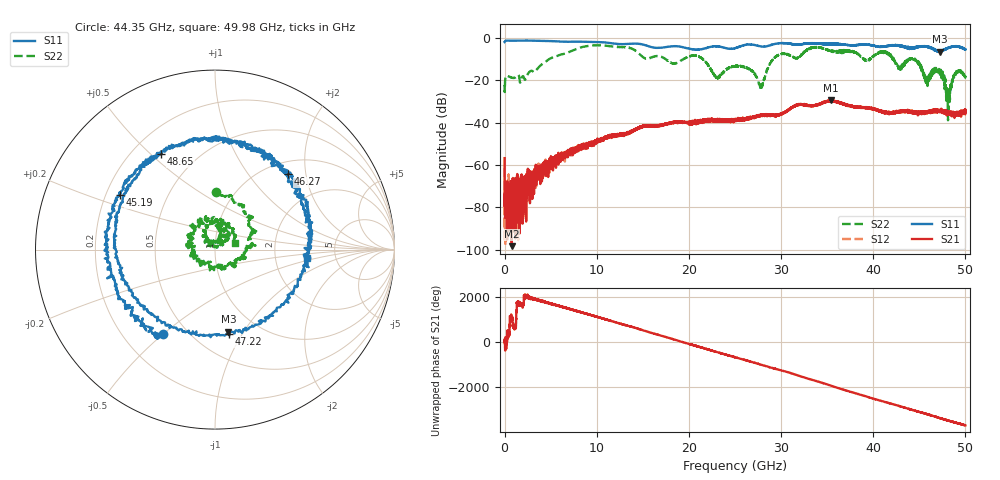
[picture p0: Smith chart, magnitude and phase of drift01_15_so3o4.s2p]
!Created with skrf (http://scikit-rf.org).
# Hz S RI R 50.0
!freq ReS11 ImS11 ReS21 ImS21 ReS12 ImS12 ReS22 ImS22
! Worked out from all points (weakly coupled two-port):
!   10001 points, 300 kHz to 50 GHz, reference 50 ohm
!   highest |S21| = -29.58 dB at 35.39 GHz (marker M1); lowest = -98.2 dB at 775.3 MHz (marker M2)
!   lowest |S11| = -6.7 dB at 47.21 GHz (marker M3), VSWR 2.73, Z = 36.9 - j42.9 ohm
!   |S11| at or under -10 dB: nowhere
!   |S22| runs from -38.9 to -3.6 dB; largest |S21 - S12| = 0.0041
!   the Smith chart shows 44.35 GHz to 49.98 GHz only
!   S11 on the Smith chart (normalised r, x): 44.35 GHz: 0.37, -0.50; 45.19 GHz: 0.26, +0.25; 46.27 GHz: 1.24, +1.60; 47.22 GHz: 0.73, -0.88; 48.65 GHz: 0.32, +0.54; 49.98 GHz: 3.07, -0.40
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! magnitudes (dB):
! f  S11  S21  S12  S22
! 300 kHz  -2.1  -56.8  -61.4  -22.4
! 255.3 MHz  -1.4  -76.8  -76.8  -18.0
! 775.3 MHz  -1.5  -98.2  -68.7  -18.9
! 8.335 GHz  -1.9  -51.6  -50.7  -4.5
! 16.67 GHz  -4.8  -41.6  -41.6  -8.7
! 20.96 GHz  -5.6  -39.7  -40.2  -8.7
! 23.07 GHz  -4.1  -39.0  -39.4  -18.8
! 25 GHz  -5.0  -38.6  -39.1  -13.6
! 27.84 GHz  -4.1  -36.8  -36.5  -22.8
! 29.47 GHz  -2.9  -36.5  -36.4  -8.8
! 33.34 GHz  -2.6  -32.3  -32.0  -4.7
! 35.39 GHz  -3.1  -29.6  -30.0  -6.1
! 41.67 GHz  -3.9  -35.3  -35.4  -7.8
! 44.35 GHz  -5.1  -35.2  -35.2  -9.9
! 45.19 GHz  -4.3  -35.4  -35.4  -13.8
! 46.27 GHz  -4.6  -34.8  -35.1  -15.9
! 47.21 GHz  -6.7  -34.3  -34.6  -16.5
! 47.22 GHz  -6.5  -35.1  -34.6  -16.9
! 48.12 GHz  -4.9  -34.9  -34.7  -35.7
! 48.65 GHz  -4.3  -35.6  -35.6  -20.4
! 49.98 GHz  -5.8  -36.1  -34.6  -18.5
! 50 GHz  -5.6  -35.0  -34.9  -18.7
